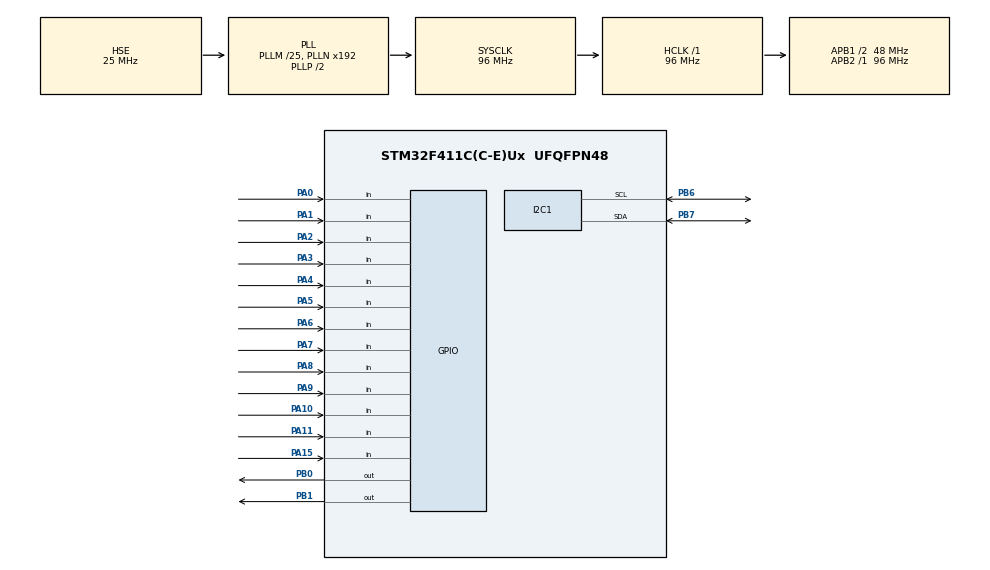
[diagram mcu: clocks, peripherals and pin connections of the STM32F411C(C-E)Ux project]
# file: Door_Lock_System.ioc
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Mcu.Family=STM32F4
Mcu.Name=STM32F411C(C-E)Ux
Mcu.Package=UFQFPN48
NVIC.PriorityGroup=NVIC_PRIORITYGROUP_4
NVIC.TIM3_IRQn=true\:0\:0\:false\:false\:true\:true\:true\:true
PA0-WKUP.Signal=GPIO_Input
PA1.Signal=GPIO_Input
PA10.Signal=GPIO_Input
PA11.Signal=GPIO_Input
PA13.Mode=Serial_Wire
PA13.Signal=SYS_JTMS-SWDIO
PA14.Mode=Serial_Wire
PA14.Signal=SYS_JTCK-SWCLK
PA15.Signal=GPIO_Input
PA2.Signal=GPIO_Input
PA3.Signal=GPIO_Input
PA4.Signal=GPIO_Input
PA5.Signal=GPIO_Input
PA6.Signal=GPIO_Input
PA7.Signal=GPIO_Input
PA8.Signal=GPIO_Input
PA9.Signal=GPIO_Input
PB0.GPIO_ModeDefaultOutputPP=GPIO_MODE_OUTPUT_PP
PB0.GPIO_PuPd=GPIO_NOPULL
PB0.Signal=GPIO_Output
PB1.GPIO_ModeDefaultOutputPP=GPIO_MODE_OUTPUT_PP
PB1.GPIO_PuPd=GPIO_NOPULL
PB1.Signal=GPIO_Output
PB6.Mode=I2C
PB6.Signal=I2C1_SCL
PB7.Mode=I2C
PB7.Signal=I2C1_SDA
PH0\ -\ OSC_IN.Mode=HSE-External-Oscillator
PH0\ -\ OSC_IN.Signal=RCC_OSC_IN
PH1\ -\ OSC_OUT.Mode=HSE-External-Oscillator
PH1\ -\ OSC_OUT.Signal=RCC_OSC_OUT
ProjectManager.HeapSize=0x200
ProjectManager.StackSize=0x400
ProjectManager.TargetToolchain=STM32CubeIDE
RCC.48MHZClocksFreq_Value=48000000
RCC.AHBFreq_Value=96000000
RCC.APB1CLKDivider=RCC_HCLK_DIV2
RCC.APB1Freq_Value=48000000
RCC.APB1TimFreq_Value=96000000
RCC.APB2Freq_Value=96000000
RCC.APB2TimFreq_Value=96000000
RCC.CortexFreq_Value=96000000
RCC.HCLKFreq_Value=96000000
RCC.HSE_VALUE=25000000
RCC.HSI_VALUE=16000000
RCC.LSE_VALUE=32768
RCC.PLLM=25
RCC.PLLSourceVirtual=RCC_PLLSOURCE_HSE
RCC.SYSCLKFreq_VALUE=96000000
RCC.SYSCLKSource=RCC_SYSCLKSOURCE_PLLCLK
RCC.VCOOutputFreq_Value=192000000
TIM3.AutoReloadPreload=TIM_AUTORELOAD_PRELOAD_DISABLE
TIM3.Period=10000
TIM3.Prescaler=4799
VP_TIM3_VS_ClockSourceINT.Mode=Internal
board=custom

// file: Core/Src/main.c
/* USER CODE BEGIN Header */
/**
  ******************************************************************************
  * @file           : main.c
  * @brief          : Main program body
  ******************************************************************************
  * @attention
  *
  * Copyright (c) 2025 STMicroelectronics.
  * All rights reserved.
  *
  * This software is licensed under terms that can be found in the LICENSE file
  * in the root directory of this software component.
  * If no LICENSE file comes with this software, it is provided AS-IS.
  *
  ******************************************************************************
  */
/* USER CODE END Header */
#include "main.h"
#include "i2c.h"
#include "tim.h"
#include "gpio.h"

/* USER CODE BEGIN Includes */
#include "liquidcrystal_i2c.h"
#include "string.h"
#include <stdbool.h>
/* USER CODE END Includes */

/* USER CODE BEGIN PV */
extern I2C_HandleTypeDef hi2c1;  // lcd
extern TIM_HandleTypeDef htim3;  // timer

char input[PASSWORD_LENGTH + 1] = {'0','0','0','0','0','0','\0'};  // Input for Access
char password[PASSWORD_LENGTH + 1] = {'1','1','1','1','1','1','\0'};  // Default password
char clear[PASSWORD_LENGTH + 1] = {'0','0','0','0','0','0','\0'};   // Clear input
char temp[PASSWORD_LENGTH + 1] = {'0','0','0','0','0','0','\0'};  // Temporary password

int clearState;  // Make sure reset is pressed to clear screen
int enterState;  // Make sure enter is pressed to enter next stage
uint8_t buttonpressedFlag = 0;  // Check for input
volatile uint32_t doorOpenCounter = 0;
volatile uint8_t doorOpenFlag = 0;  // Check for door status

typedef struct {
    GPIO_TypeDef *port;
    uint16_t pin;
    uint32_t lastDebounceTime;
    GPIO_PinState lastState;
    GPIO_PinState stableState;
    uint32_t pressStartTime;
} Button_t;

Button_t buttons[NUM_INPUT] = {
    {BUTTON_PORT, GPIO_PIN_0, 0, GPIO_PIN_RESET, GPIO_PIN_RESET},
    {BUTTON_PORT, GPIO_PIN_1, 0, GPIO_PIN_RESET, GPIO_PIN_RESET},
	{BUTTON_PORT, GPIO_PIN_2, 0, GPIO_PIN_RESET, GPIO_PIN_RESET},
	{BUTTON_PORT, GPIO_PIN_3, 0, GPIO_PIN_RESET, GPIO_PIN_RESET},
	{BUTTON_PORT, GPIO_PIN_4, 0, GPIO_PIN_RESET, GPIO_PIN_RESET},
	{BUTTON_PORT, GPIO_PIN_5, 0, GPIO_PIN_RESET, GPIO_PIN_RESET},
	{BUTTON_PORT, GPIO_PIN_6, 0, GPIO_PIN_RESET, GPIO_PIN_RESET},
	{BUTTON_PORT, GPIO_PIN_7, 0, GPIO_PIN_RESET, GPIO_PIN_RESET},
	{BUTTON_PORT, GPIO_PIN_8, 0, GPIO_PIN_RESET, GPIO_PIN_RESET},
	{BUTTON_PORT, GPIO_PIN_9, 0, GPIO_PIN_RESET, GPIO_PIN_RESET},
    {BUTTON_PORT, RESET_BUTTON_PIN, 0, GPIO_PIN_RESET, GPIO_PIN_RESET, 0},
	{BUTTON_PORT, ENTER_BUTTON_PIN, 0, GPIO_PIN_RESET, GPIO_PIN_RESET},
};
/* USER CODE END PV */

void SystemClock_Config(void);
/* USER CODE BEGIN PFP */
void MX_GPIO_Init(void);
void MX_I2C1_Init(void);
void MX_TIM3_Init(void);
int enter(int inputindex);
void unlockDoor(void);
void alertWrongPassword(void);
void alertDoorOpen(void);
void checkButtons(void);
void clearScreen(void);
/* USER CODE END PFP */

int main(void)
{

  /* MCU Configuration--------------------------------------------------------*/

  /* Reset of all peripherals, Initializes the Flash interface and the Systick. */
  HAL_Init();

  /* Configure the system clock */
  SystemClock_Config();

  /* Initialize all configured peripherals */
  MX_GPIO_Init();
  MX_I2C1_Init();
  MX_TIM3_Init();
  /* USER CODE BEGIN 2 */
  HD44780_Init(2);
  HD44780_Clear();
  HD44780_PrintStr("Enter Password");
  /* USER CODE END 2 */

  /* Infinite loop */
  /* USER CODE BEGIN WHILE */
  while (1)
  {
	  uint32_t currenttime = HAL_GetTick();
	  GPIO_PinState buttonState = HAL_GPIO_ReadPin(buttons[10].port, buttons[10].pin);

	  if(buttonState == GPIO_PIN_SET && buttons[10].pressStartTime == 0){
		  buttons[10].pressStartTime = currenttime;
	  }

	  if (buttonState == GPIO_PIN_SET && ((currenttime - buttons[10].pressStartTime) >= 2000)) {    // Check whether reset button is long pressed to set a new password
		  HD44780_Clear();
		  HD44780_PrintStr("Enter Old ");
		  HD44780_SetCursor(0,1);
		  HD44780_PrintStr("Password ");
		  for (int j = 0; j <= PASSWORD_LENGTH;){
			  int num1 = enter(j);
			  if(clearState == 1){  // When reset button is press, all the temporary password is cleared
				  strcpy(temp, clear);
				  j = 0;
				  clearState = 0;
				  break;
			  }
			  else if((enterState == 1) && (j == PASSWORD_LENGTH)){  // When 6 digit password is entered and enter is pressed, temporary password is stored
				  if (strcmp(temp,password) == 0) {
					  HD44780_Clear();
					  HD44780_PrintStr("Enter New ");
					  HD44780_SetCursor(0,1);
					  HD44780_PrintStr("Password ");
					  strcpy(temp, clear);
					  for (int g = 0; g <= PASSWORD_LENGTH;){
						  int num3 = enter(g);
						  if(clearState == 1){  // When reset button is press, all the temporary password is cleared
							  strcpy(temp, clear);
							  g = 0;
							  clearState = 0;
							  break;
						  }
						  else if((enterState == 1) && (g == PASSWORD_LENGTH)){  // When 6 digit password is entered and enter is pressed, temporary password is stored
							  strcpy(password, temp);
							  enterState = 0;
							  HAL_Delay(1000);
							  HD44780_Clear();
							  HD44780_PrintStr("New Password");
							  HD44780_SetCursor(0,1);
							  HD44780_PrintStr("Saved");
							  HAL_Delay(2000);
							  HD44780_Clear();
							  HD44780_PrintStr("Enter Password");
							  break;
						  }
						  else if(g < PASSWORD_LENGTH){  //  pressed number is store in temporary password variable
							  temp[g] = '0' + num3;
							  g++;
						  }
					  }
				  }
				  else{
					  alertWrongPassword();
				  }
				  enterState = 0;
				  break;
			  }
			  else if(j < PASSWORD_LENGTH){  //  pressed number is store in temporary password variable
				  temp[j] = '0' + num1;
				  j++;
			  }
		  }
		  buttons[10].pressStartTime = 0;
	  }

	  if (buttonState == GPIO_PIN_RESET){
		  for (int h = 0; h < 10; h++){
			  if (HAL_GPIO_ReadPin(buttons[h].port, buttons[h].pin) == GPIO_PIN_SET){  // Check whether button is pressed
				  for (int k = 0; k <= PASSWORD_LENGTH;) {  // Check input digit one by one
					  int num2 = enter(k);
					  if(clearState == 1){  // When reset button is press, all the input is cleared
						  strcpy(input, clear);
						  k = 0;
						  clearState = 0;
						  break;
					  }
					  else if((enterState == 1) && (k == PASSWORD_LENGTH))	{   // When 6 digit password is entered and enter is pressed, input is compared with password
						  if (strcmp(input,password) == 0) {  // if input correct password, door is unlocked
							  unlockDoor();
						  }
						  else {
							  alertWrongPassword();  // give alert for wrong password
						  }
						  enterState = 0;
						  break;
					  }
					  else if(k < PASSWORD_LENGTH){  // pressed number is store in input variable
						  input[k] = '0' + num2;
						  k++;
					  }
				  }
			  }
		  }
		  buttons[10].pressStartTime = 0;
	  }
  }
}
    /* USER CODE END WHILE */

    /* USER CODE BEGIN 3 */
int enter(int inputindex){
	buttonpressedFlag = 0;
	while(buttonpressedFlag == 0){
		uint32_t currentTime = HAL_GetTick();
		for (int i = 0; i < NUM_INPUT; i++) {
			GPIO_PinState currentState = HAL_GPIO_ReadPin(buttons[i].port, buttons[i].pin);   //Check for button pressed using debounce code

			// Check if state has changed from last stable state
			if (currentState != buttons[i].lastState) {
				buttons[i].lastDebounceTime = currentTime;  // Reset debounce timer
			}

			if ((currentTime - buttons[i].lastDebounceTime) >= 50) {   //Make sure last debounce time over 50ms to ensure stable state
				if (currentState != buttons[i].stableState) {
					buttons[i].stableState = currentState;
					if (currentState == GPIO_PIN_SET) {
						if ((i < 10) && (inputindex == 0)){  // before first input, the screen is cleared
							HD44780_Clear();
						}
						if ((i < 10) && (inputindex < PASSWORD_LENGTH)){   // * is print for every input for safety
							HD44780_PrintStr("*");
							buttonpressedFlag = 1;
							return i;
						}
						else if ((i == 10) && (inputindex > 0)){   // Reset button is press to clear all the input
							HD44780_Clear();
							HD44780_PrintStr("Enter Password");
							buttonpressedFlag = 1;
							clearState = 1;
						}
						else if ((i == 11) && (inputindex == PASSWORD_LENGTH)){  // Ensure inputIndex does not exceed buffer size
							buttonpressedFlag = 1;
							enterState = 1;
						}
					}
				}
			}
			buttons[i].lastState = currentState;  // Update last known state
		}
	}
}

void unlockDoor(void) {
    HAL_GPIO_WritePin(GPIOB, RELAY_PIN, GPIO_PIN_SET);  // Activate relay to open the door lock
    HD44780_Clear();
    HD44780_PrintStr("Door Unlocked");
    alertDoorOpen();
    HAL_GPIO_WritePin(GPIOB, RELAY_PIN, GPIO_PIN_RESET);  // Deactivate relay to lock the door
    HD44780_Clear();
    HD44780_PrintStr("Enter Password");
}

void alertWrongPassword(void) {
    HAL_GPIO_WritePin(OUTPUT_PORT, BUZZER_PIN, GPIO_PIN_SET);  // Activate buzzer
    HD44780_Clear();
    HD44780_PrintStr("Wrong Password");
    HAL_GPIO_WritePin(OUTPUT_PORT, BUZZER_PIN, GPIO_PIN_RESET);  // Deactivate buzzer
    HAL_Delay(1000);
    HD44780_Clear();
    HD44780_PrintStr("Enter Password");
}

void alertDoorOpen(void){
	HAL_Delay(10000);  // delay to ensure door can be open before it locks back
	doorOpenFlag = 0;
	while (HAL_GPIO_ReadPin(BUTTON_PORT, DOOR_SENSOR_PIN) == GPIO_PIN_RESET) {
		if (!doorOpenFlag) {
			doorOpenFlag = 1;
            doorOpenCounter = 0;  // Reset the timer counter when door opens
            HAL_TIM_Base_Start_IT(&htim3);  // Start timer interrupt
        }
    }
	if (HAL_GPIO_ReadPin(BUTTON_PORT, DOOR_SENSOR_PIN) == GPIO_PIN_SET){
		HAL_GPIO_WritePin(OUTPUT_PORT, BUZZER_PIN, GPIO_PIN_RESET);  // Turn off buzzer
		HAL_TIM_Base_Stop_IT(&htim3);  // Stop timer interrupt when door closes
	}
}

void HAL_TIM_PeriodElapsedCallback(TIM_HandleTypeDef *htim){
	if (htim->Instance == TIM3) {  // Check if TIM2 interrupt
		while (doorOpenFlag) {
			doorOpenCounter++;
			if (doorOpenCounter > 30000000) {
				HAL_GPIO_WritePin(OUTPUT_PORT, BUZZER_PIN, GPIO_PIN_SET); // Turn on buzzer
				break;
			}
			else if (HAL_GPIO_ReadPin(BUTTON_PORT, DOOR_SENSOR_PIN) == GPIO_PIN_SET){
				HAL_TIM_Base_Stop_IT(&htim3);  // Stop timer interrupt when door closes
				break;
			}
		}
	}
}

  /* USER CODE END 3 */

void SystemClock_Config(void)
{
  RCC_OscInitTypeDef RCC_OscInitStruct = {0};
  RCC_ClkInitTypeDef RCC_ClkInitStruct = {0};

  /** Configure the main internal regulator output voltage
  */
  __HAL_RCC_PWR_CLK_ENABLE();
  __HAL_PWR_VOLTAGESCALING_CONFIG(PWR_REGULATOR_VOLTAGE_SCALE1);

  /** Initializes the RCC Oscillators according to the specified parameters
  * in the RCC_OscInitTypeDef structure.
  */
  RCC_OscInitStruct.OscillatorType = RCC_OSCILLATORTYPE_HSE;
  RCC_OscInitStruct.HSEState = RCC_HSE_ON;
  RCC_OscInitStruct.PLL.PLLState = RCC_PLL_ON;
  RCC_OscInitStruct.PLL.PLLSource = RCC_PLLSOURCE_HSE;
  RCC_OscInitStruct.PLL.PLLM = 25;
  RCC_OscInitStruct.PLL.PLLN = 192;
  RCC_OscInitStruct.PLL.PLLP = RCC_PLLP_DIV2;
  RCC_OscInitStruct.PLL.PLLQ = 4;
  if (HAL_RCC_OscConfig(&RCC_OscInitStruct) != HAL_OK)
  {
    Error_Handler();
  }

  /** Initializes the CPU, AHB and APB buses clocks
  */
  RCC_ClkInitStruct.ClockType = RCC_CLOCKTYPE_HCLK|RCC_CLOCKTYPE_SYSCLK
                              |RCC_CLOCKTYPE_PCLK1|RCC_CLOCKTYPE_PCLK2;
  RCC_ClkInitStruct.SYSCLKSource = RCC_SYSCLKSOURCE_PLLCLK;
  RCC_ClkInitStruct.AHBCLKDivider = RCC_SYSCLK_DIV1;
  RCC_ClkInitStruct.APB1CLKDivider = RCC_HCLK_DIV2;
  RCC_ClkInitStruct.APB2CLKDivider = RCC_HCLK_DIV1;

  if (HAL_RCC_ClockConfig(&RCC_ClkInitStruct, FLASH_LATENCY_3) != HAL_OK)
  {
    Error_Handler();
  }
}

void Error_Handler(void)
{
  __disable_irq();
  while (1)
  {
  }
}
